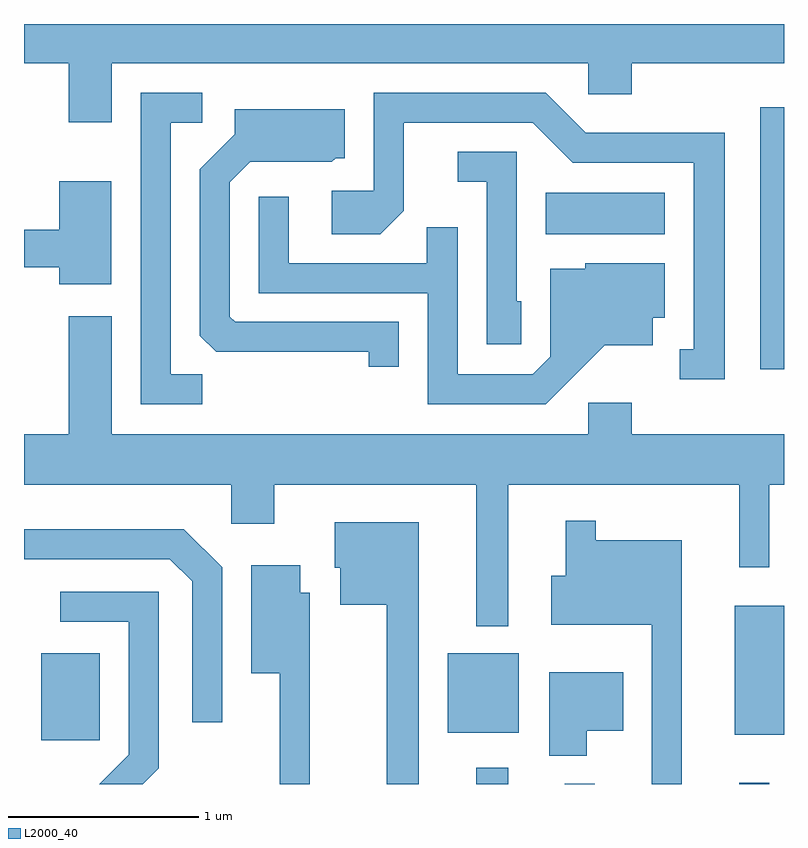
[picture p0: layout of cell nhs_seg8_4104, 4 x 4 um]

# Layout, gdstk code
import gdstk
lib = gdstk.Library(unit=1e-6, precision=1e-09)
def R(c, l, rs):  # rectangles x0, y0, x1, y1
    for r in rs: c.add(gdstk.rectangle(r[:2], r[2:], *l))
def P(c, l, *ps):  # polygons
    for p in ps: c.add(gdstk.Polygon(p, *l))
L2000_40 = (2000, 40)

nhs_seg8_4104 = lib.new_cell('nhs_seg8_4104')
R(nhs_seg8_4104, L2000_40, [(309.991,1890.342,310.159,1890.428), (310.456,1890.342,310.614,1890.343), (311.376,1890.342,311.534,1890.348), (307.701,1890.571,308.009,1891.029), (311.351,1890.601,311.611,1891.279), (309.841,1890.611,310.214,1891.029), (311.486,1892.526,311.611,1893.904), (310.356,1893.236,310.984,1893.454)])
P(nhs_seg8_4104, L2000_40, [(308.074,1894.136),(310.581,1894.136),(310.581,1893.971),(310.809,1893.971),(310.809,1894.136),(311.611,1894.136),(311.611,1894.342),(307.611,1894.342),(307.611,1894.136),(307.846,1894.136),(307.846,1893.826),(308.074,1893.826)],
  [(311.299,1893.769),(310.567,1893.769),(310.357,1893.979),(309.451,1893.979),(309.451,1893.464),(309.231,1893.464),(309.231,1893.236),(309.487,1893.236),(309.609,1893.359),(309.609,1893.821),(310.289,1893.821),(310.499,1893.611),(311.136,1893.611),(311.136,1892.629),(311.063,1892.629),(311.063,1892.471),(311.299,1892.471)],
  [(308.548,1892.499),(308.384,1892.499),(308.384,1893.821),(308.548,1893.821),(308.548,1893.979),(308.226,1893.979),(308.226,1892.341),(308.548,1892.341)],
  [(309.584,1892.774),(308.722,1892.774),(308.694,1892.802),(308.694,1893.509),(308.802,1893.616),(309.232,1893.616),(309.252,1893.636),(309.299,1893.636),(309.299,1893.894),(308.721,1893.894),(308.721,1893.762),(308.536,1893.577),(308.536,1892.702),(308.622,1892.616),(309.426,1892.616),(309.426,1892.538),(309.584,1892.538)],
  [(310.229,1892.884),(310.204,1892.884),(310.204,1893.669),(309.893,1893.669),(309.893,1893.511),(310.046,1893.511),(310.046,1892.656),(310.229,1892.656)],
  [(308.069,1893.514),(307.796,1893.514),(307.796,1893.259),(307.611,1893.259),(307.611,1893.061),(307.796,1893.061),(307.796,1892.971),(308.069,1892.971)],
  [(310.667,1892.651),(310.919,1892.651),(310.919,1892.796),(310.984,1892.796),(310.984,1893.084),(310.566,1893.084),(310.566,1893.054),(310.381,1893.054),(310.381,1892.592),(310.289,1892.499),(309.894,1892.499),(309.894,1893.273),(309.731,1893.273),(309.731,1893.084),(309.004,1893.084),(309.004,1893.433),(308.846,1893.433),(308.846,1892.926),(309.736,1892.926),(309.736,1892.341),(310.357,1892.341)],
  [(310.159,1891.916),(311.376,1891.916),(311.376,1891.483),(311.534,1891.483),(311.534,1891.916),(311.611,1891.916),(311.611,1892.184),(310.809,1892.184),(310.809,1892.349),(310.581,1892.349),(310.581,1892.184),(308.074,1892.184),(308.074,1892.804),(307.846,1892.804),(307.846,1892.184),(307.611,1892.184),(307.611,1891.916),(308.701,1891.916),(308.701,1891.711),(308.929,1891.711),(308.929,1891.916),(309.991,1891.916),(309.991,1891.173),(310.159,1891.173)],
  [(311.074,1891.624),(310.619,1891.624),(310.619,1891.728),(310.461,1891.728),(310.461,1891.439),(310.386,1891.439),(310.386,1891.181),(310.916,1891.181),(310.916,1890.342),(311.074,1890.342)],
  [(309.689,1891.719),(309.246,1891.719),(309.246,1891.481),(309.276,1891.481),(309.276,1891.286),(309.521,1891.286),(309.521,1890.342),(309.689,1890.342)],
  [(308.654,1891.482),(308.452,1891.684),(307.611,1891.684),(307.611,1891.526),(308.379,1891.526),(308.496,1891.409),(308.496,1890.668),(308.654,1890.668)],
  [(309.114,1891.349),(309.064,1891.349),(309.064,1891.494),(308.806,1891.494),(308.806,1890.926),(308.956,1890.926),(308.956,1890.342),(309.114,1890.342)],
  [(308.319,1890.424),(308.319,1891.354),(307.803,1891.354),(307.803,1891.196),(308.161,1891.196),(308.161,1890.497),(308.007,1890.342),(308.237,1890.342)],
  [(310.574,1890.621),(310.764,1890.621),(310.764,1890.929),(310.376,1890.929),(310.376,1890.491),(310.574,1890.491)])

lib.write_gds('nhs_seg8_4104.gds')
